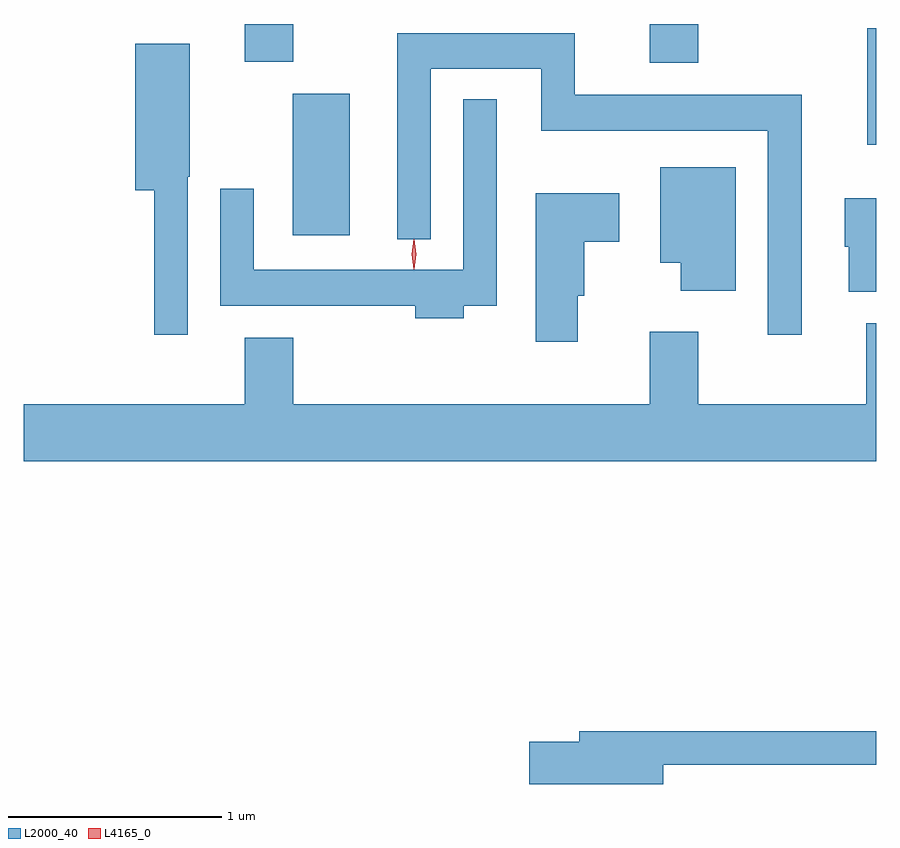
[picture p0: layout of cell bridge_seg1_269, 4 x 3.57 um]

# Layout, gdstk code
import gdstk
lib = gdstk.Library(unit=1e-6, precision=1e-09)
def R(c, l, rs):  # rectangles x0, y0, x1, y1
    for r in rs: c.add(gdstk.rectangle(r[:2], r[2:], *l))
def P(c, l, *ps):  # polygons
    for p in ps: c.add(gdstk.Polygon(p, *l))
L2000_40 = (2000, 40)
L4165_0 = (4165, 0)

bridge_seg1_269 = lib.new_cell('bridge_seg1_269')
R(bridge_seg1_269, L2000_40, [(902.356,896.196,902.624,896.859), (905.051,896.621,905.094,897.168), (904.031,897.006,904.259,897.187), (902.131,897.011,902.359,897.187)])
P(bridge_seg1_269, L2000_40, [(904.744,896.854),(903.679,896.854),(903.679,897.144),(902.846,897.144),(902.846,896.178),(903.004,896.178),(903.004,896.976),(903.521,896.976),(903.521,896.686),(904.586,896.686),(904.586,895.728),(904.744,895.728)],
  [(901.864,896.47),(901.874,896.47),(901.874,897.094),(901.616,897.094),(901.616,896.406),(901.706,896.406),(901.706,895.728),(901.864,895.728)],
  [(903.159,895.866),(903.314,895.866),(903.314,896.833),(903.156,896.833),(903.156,896.034),(902.174,896.034),(902.174,896.413),(902.016,896.413),(902.016,895.866),(902.931,895.866),(902.931,895.806),(903.159,895.806)],
  [(904.434,896.514),(904.081,896.514),(904.081,896.066),(904.176,896.066),(904.176,895.936),(904.434,895.936)],
  [(903.694,895.911),(903.724,895.911),(903.724,896.166),(903.889,896.166),(903.889,896.394),(903.496,896.394),(903.496,895.696),(903.694,895.696)],
  [(905.094,896.369),(904.946,896.369),(904.946,896.141),(904.966,896.141),(904.966,895.931),(905.094,895.931)],
  [(905.094,895.783),(905.046,895.783),(905.046,895.404),(904.259,895.404),(904.259,895.744),(904.031,895.744),(904.031,895.404),(902.359,895.404),(902.359,895.714),(902.131,895.714),(902.131,895.404),(901.094,895.404),(901.094,895.136),(905.094,895.136)],
  [(904.094,893.711),(905.094,893.711),(905.094,893.869),(903.701,893.869),(903.701,893.819),(903.466,893.819),(903.466,893.621),(904.094,893.621)])
P(bridge_seg1_269, L4165_0, [(902.925,896.039),(902.924,896.04),(902.915,896.106),(902.924,896.172),(902.925,896.173),(902.925,896.172),(902.935,896.106),(902.925,896.04)],
  [(902.924,896.037),(902.915,896.106),(902.924,896.176),(902.925,896.176),(902.926,896.176),(902.935,896.106),(902.926,896.037),(902.925,896.037)])

lib.write_gds('bridge_seg1_269.gds')
